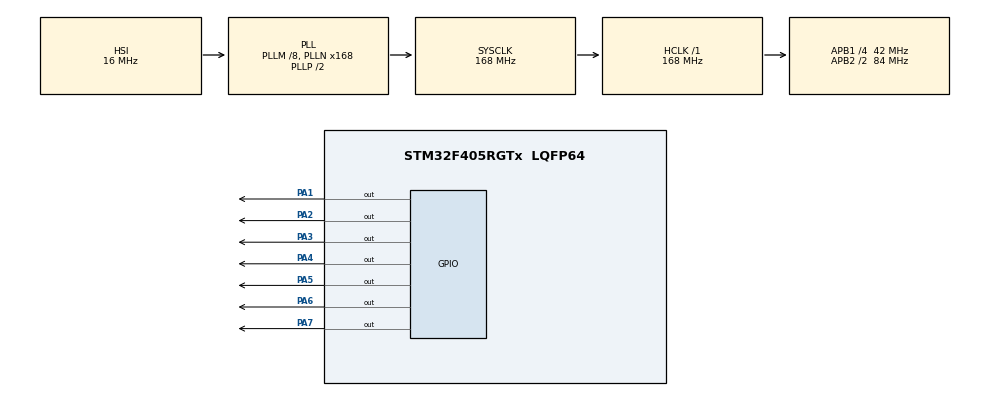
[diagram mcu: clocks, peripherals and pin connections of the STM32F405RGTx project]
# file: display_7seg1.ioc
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Mcu.Family=STM32F4
Mcu.Name=STM32F405RGTx
Mcu.Package=LQFP64
NVIC.PriorityGroup=NVIC_PRIORITYGROUP_4
PA1.GPIO_PuPd=GPIO_PULLDOWN
PA1.Signal=GPIO_Output
PA13.Mode=Serial_Wire
PA13.Signal=SYS_JTMS-SWDIO
PA14.Mode=Serial_Wire
PA14.Signal=SYS_JTCK-SWCLK
PA2.GPIO_PuPd=GPIO_PULLDOWN
PA2.Signal=GPIO_Output
PA3.GPIO_PuPd=GPIO_PULLDOWN
PA3.Signal=GPIO_Output
PA4.GPIO_PuPd=GPIO_PULLDOWN
PA4.Signal=GPIO_Output
PA5.GPIO_PuPd=GPIO_PULLDOWN
PA5.Signal=GPIO_Output
PA6.GPIO_PuPd=GPIO_PULLDOWN
PA6.Signal=GPIO_Output
PA7.GPIO_PuPd=GPIO_PULLDOWN
PA7.Signal=GPIO_Output
PC14-OSC32_IN.Mode=LSE-External-Oscillator
PC14-OSC32_IN.Signal=RCC_OSC32_IN
PC15-OSC32_OUT.Mode=LSE-External-Oscillator
PC15-OSC32_OUT.Signal=RCC_OSC32_OUT
PH0-OSC_IN.Mode=HSE-External-Oscillator
PH0-OSC_IN.Signal=RCC_OSC_IN
PH1-OSC_OUT.Mode=HSE-External-Oscillator
PH1-OSC_OUT.Signal=RCC_OSC_OUT
ProjectManager.HeapSize=0x200
ProjectManager.StackSize=0x400
ProjectManager.TargetToolchain=MDK-ARM V5.32
RCC.48MHZClocksFreq_Value=84000000
RCC.AHBFreq_Value=168000000
RCC.APB1CLKDivider=RCC_HCLK_DIV4
RCC.APB1Freq_Value=42000000
RCC.APB1TimFreq_Value=84000000
RCC.APB2CLKDivider=RCC_HCLK_DIV2
RCC.APB2Freq_Value=84000000
RCC.APB2TimFreq_Value=168000000
RCC.CortexFreq_Value=168000000
RCC.HCLKFreq_Value=168000000
RCC.HSE_VALUE=8000000
RCC.HSI_VALUE=16000000
RCC.PLLM=8
RCC.PLLN=168
RCC.SYSCLKFreq_VALUE=168000000
RCC.SYSCLKSource=RCC_SYSCLKSOURCE_PLLCLK
RCC.VCOOutputFreq_Value=336000000
board=custom

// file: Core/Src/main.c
/* USER CODE BEGIN Header */
/**
  ******************************************************************************
  * @file           : main.c
  * @brief          : Main program body
  ******************************************************************************
  * @attention
  *
  * Copyright (c) 2026 STMicroelectronics.
  * All rights reserved.
  *
  * This software is licensed under terms that can be found in the LICENSE file
  * in the root directory of this software component.
  * If no LICENSE file comes with this software, it is provided AS-IS.
  *
  ******************************************************************************
  */
/* USER CODE END Header */
#include "main.h"

void SystemClock_Config(void);
static void MX_GPIO_Init(void);

/* USER CODE BEGIN 0 */
uint8_t bin_seg7 [10] = {
	//0gfedcba
	0x3F,	//00111111	0
	0x06,	//00000110	1
	0x5B,	//01011011	2
	0x4F,	//01001111	3
	0x66,	//01100110	4
	0x6D,	//01101101	5
	0x7D,	//01111101	6
	0x07,	//00000111	7
	0x7F,	//01111111	8
	0x6F	//01101111	9
};
/* USER CODE END 0 */

int main(void)
{

  /* USER CODE BEGIN 1 */
	uint8_t count = 0;
  /* USER CODE END 1 */

  /* MCU Configuration--------------------------------------------------------*/

  /* Reset of all peripherals, Initializes the Flash interface and the Systick. */
  HAL_Init();

  /* Configure the system clock */
  SystemClock_Config();

  /* Initialize all configured peripherals */
  MX_GPIO_Init();
  /* USER CODE BEGIN 2 */
	void display_7seg (uint8_t num);
  /* USER CODE END 2 */

  /* Infinite loop */
  /* USER CODE BEGIN WHILE */
  while (1)
  {
		display_7seg(count);
		if(count==9){
			count=0;
		}
		else{
			count=count+1;
		}
		HAL_Delay(1000);
    /* USER CODE END WHILE */

  }
}

void SystemClock_Config(void)
{
  RCC_OscInitTypeDef RCC_OscInitStruct = {0};
  RCC_ClkInitTypeDef RCC_ClkInitStruct = {0};

  /** Configure the main internal regulator output voltage
  */
  __HAL_RCC_PWR_CLK_ENABLE();
  __HAL_PWR_VOLTAGESCALING_CONFIG(PWR_REGULATOR_VOLTAGE_SCALE1);

  /** Initializes the RCC Oscillators according to the specified parameters
  * in the RCC_OscInitTypeDef structure.
  */
  RCC_OscInitStruct.OscillatorType = RCC_OSCILLATORTYPE_HSI;
  RCC_OscInitStruct.HSIState = RCC_HSI_ON;
  RCC_OscInitStruct.HSICalibrationValue = RCC_HSICALIBRATION_DEFAULT;
  RCC_OscInitStruct.PLL.PLLState = RCC_PLL_ON;
  RCC_OscInitStruct.PLL.PLLSource = RCC_PLLSOURCE_HSI;
  RCC_OscInitStruct.PLL.PLLM = 8;
  RCC_OscInitStruct.PLL.PLLN = 168;
  RCC_OscInitStruct.PLL.PLLP = RCC_PLLP_DIV2;
  RCC_OscInitStruct.PLL.PLLQ = 4;
  if (HAL_RCC_OscConfig(&RCC_OscInitStruct) != HAL_OK)
  {
    Error_Handler();
  }

  /** Initializes the CPU, AHB and APB buses clocks
  */
  RCC_ClkInitStruct.ClockType = RCC_CLOCKTYPE_HCLK|RCC_CLOCKTYPE_SYSCLK
                              |RCC_CLOCKTYPE_PCLK1|RCC_CLOCKTYPE_PCLK2;
  RCC_ClkInitStruct.SYSCLKSource = RCC_SYSCLKSOURCE_PLLCLK;
  RCC_ClkInitStruct.AHBCLKDivider = RCC_SYSCLK_DIV1;
  RCC_ClkInitStruct.APB1CLKDivider = RCC_HCLK_DIV4;
  RCC_ClkInitStruct.APB2CLKDivider = RCC_HCLK_DIV2;

  if (HAL_RCC_ClockConfig(&RCC_ClkInitStruct, FLASH_LATENCY_5) != HAL_OK)
  {
    Error_Handler();
  }
}

static void MX_GPIO_Init(void)
{
  GPIO_InitTypeDef GPIO_InitStruct = {0};

  /* GPIO Ports Clock Enable */
  __HAL_RCC_GPIOC_CLK_ENABLE();
  __HAL_RCC_GPIOH_CLK_ENABLE();
  __HAL_RCC_GPIOA_CLK_ENABLE();

  /*Configure GPIO pin Output Level */
  HAL_GPIO_WritePin(GPIOA, GPIO_PIN_1|GPIO_PIN_2|GPIO_PIN_3|GPIO_PIN_4
                          |GPIO_PIN_5|GPIO_PIN_6|GPIO_PIN_7, GPIO_PIN_RESET);

  /*Configure GPIO pins : PA1 PA2 PA3 PA4
                           PA5 PA6 PA7 */
  GPIO_InitStruct.Pin = GPIO_PIN_1|GPIO_PIN_2|GPIO_PIN_3|GPIO_PIN_4
                          |GPIO_PIN_5|GPIO_PIN_6|GPIO_PIN_7;
  GPIO_InitStruct.Mode = GPIO_MODE_OUTPUT_PP;
  GPIO_InitStruct.Pull = GPIO_PULLDOWN;
  GPIO_InitStruct.Speed = GPIO_SPEED_FREQ_LOW;
  HAL_GPIO_Init(GPIOA, &GPIO_InitStruct);

}

/* USER CODE BEGIN 4 */
void display_7seg (uint8_t num){
	uint8_t index = bin_seg7[num];
	HAL_GPIO_WritePin(GPIOA, GPIO_PIN_1, (index & 0x01) ? 1 : 0);
	HAL_GPIO_WritePin(GPIOA, GPIO_PIN_2, (index & 0x02) ? 1 : 0);
	HAL_GPIO_WritePin(GPIOA, GPIO_PIN_3, (index & 0x04) ? 1 : 0);
	HAL_GPIO_WritePin(GPIOA, GPIO_PIN_4, (index & 0x08) ? 1 : 0);
	HAL_GPIO_WritePin(GPIOA, GPIO_PIN_5, (index & 0x10) ? 1 : 0);
	HAL_GPIO_WritePin(GPIOA, GPIO_PIN_6, (index & 0x20) ? 1 : 0);
	HAL_GPIO_WritePin(GPIOA, GPIO_PIN_7, (index & 0x40) ? 1 : 0);
}
/* USER CODE END 4 */

void Error_Handler(void)
{
  __disable_irq();
  while (1)
  {
  }
}
